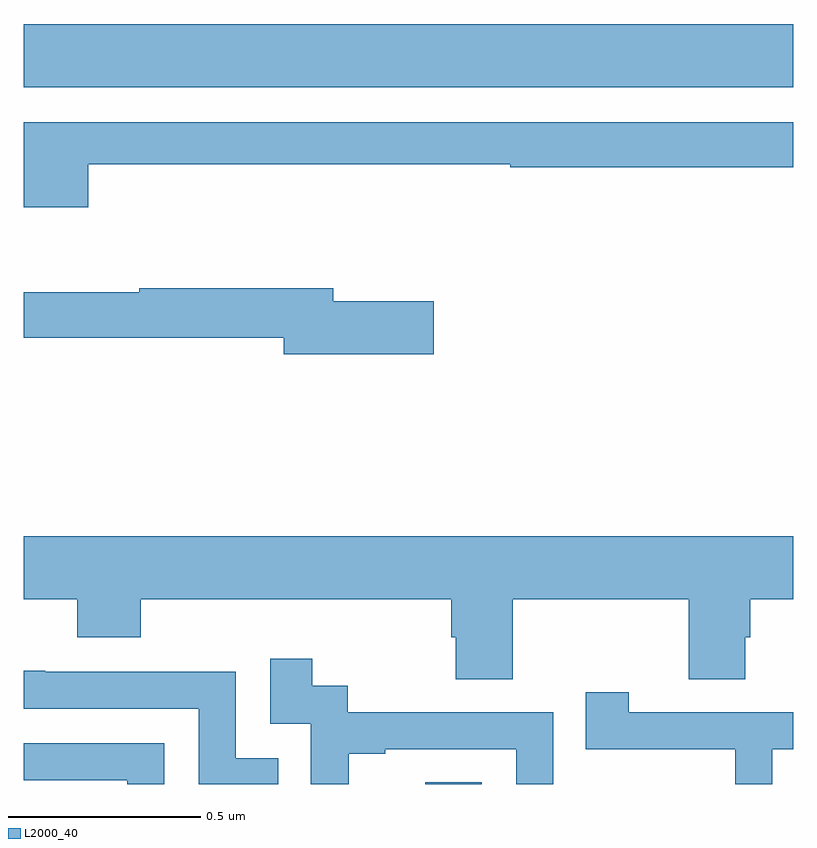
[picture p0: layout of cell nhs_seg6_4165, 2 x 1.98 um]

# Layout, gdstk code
import gdstk
lib = gdstk.Library(unit=1e-6, precision=1e-09)
def R(c, l, rs):  # rectangles x0, y0, x1, y1
    for r in rs: c.add(gdstk.rectangle(r[:2], r[2:], *l))
def P(c, l, *ps):  # polygons
    for p in ps: c.add(gdstk.Polygon(p, *l))
L2000_40 = (2000, 40)

nhs_seg6_4165 = lib.new_cell('nhs_seg6_4165')
R(nhs_seg6_4165, L2000_40, [(167.043,969.5,167.19,969.505), (166,971.312,168,971.476)])
P(nhs_seg6_4165, L2000_40, [(166.168,971.112),(167.264,971.112),(167.264,971.104),(168,971.104),(168,971.22),(166.064,971.22),(166.064,971.221),(166,971.221),(166,971),(166.168,971)],
  [(167.065,970.755),(166.804,970.755),(166.804,970.789),(166.3,970.789),(166.3,970.779),(166,970.779),(166,970.66),(166.676,970.66),(166.676,970.618),(167.065,970.618)],
  [(167.271,969.98),(167.728,969.98),(167.728,969.772),(167.875,969.772),(167.875,969.882),(167.888,969.882),(167.888,969.98),(168,969.98),(168,970.144),(166,970.144),(166,969.98),(166.139,969.98),(166.139,969.881),(166.304,969.881),(166.304,969.98),(167.111,969.98),(167.111,969.882),(167.123,969.882),(167.123,969.772),(167.271,969.772)],
  [(166.844,969.579),(166.939,969.579),(166.939,969.591),(167.28,969.591),(167.28,969.5),(167.376,969.5),(167.376,969.687),(166.842,969.687),(166.842,969.756),(166.75,969.756),(166.75,969.826),(166.641,969.826),(166.641,969.657),(166.746,969.657),(166.746,969.5),(166.844,969.5)],
  [(166.661,969.567),(166.551,969.567),(166.551,969.792),(166.055,969.792),(166.055,969.794),(166,969.794),(166,969.696),(166.455,969.696),(166.455,969.5),(166.661,969.5)],
  [(167.946,969.591),(168,969.591),(168,969.687),(167.572,969.687),(167.572,969.739),(167.461,969.739),(167.461,969.591),(167.85,969.591),(167.85,969.5),(167.946,969.5)],
  [(166.365,969.606),(166,969.606),(166,969.51),(166.269,969.51),(166.269,969.5),(166.365,969.5)])

lib.write_gds('nhs_seg6_4165.gds')
